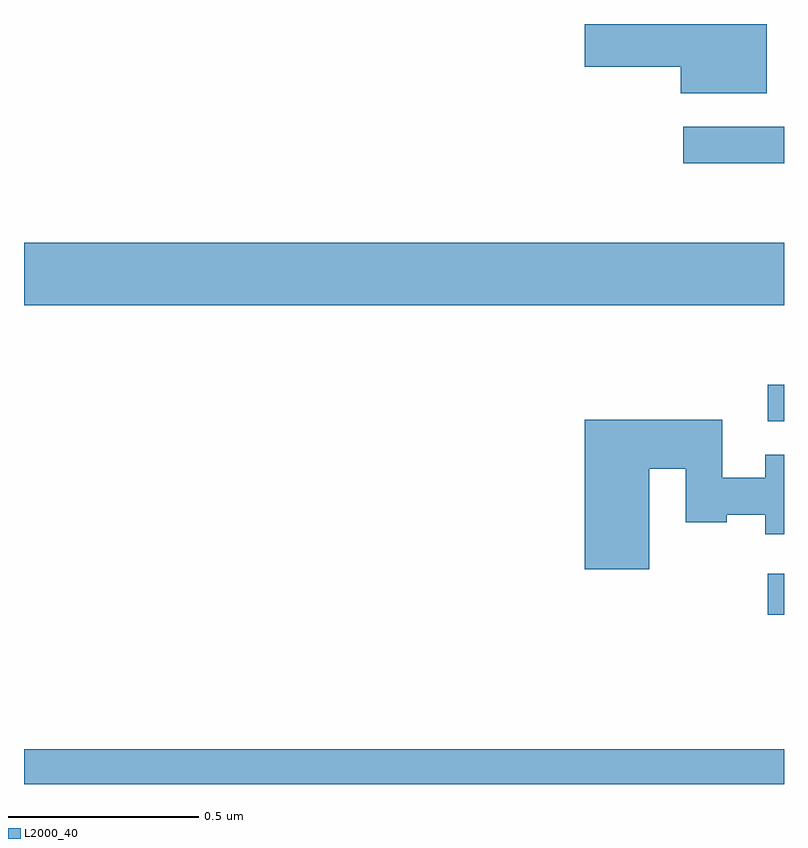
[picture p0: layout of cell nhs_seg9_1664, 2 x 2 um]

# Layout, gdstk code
import gdstk
lib = gdstk.Library(unit=1e-6, precision=1e-09)
def R(c, l, rs):  # rectangles x0, y0, x1, y1
    for r in rs: c.add(gdstk.rectangle(r[:2], r[2:], *l))
def P(c, l, *ps):  # polygons
    for p in ps: c.add(gdstk.Polygon(p, *l))
L2000_40 = (2000, 40)

nhs_seg9_1664 = lib.new_cell('nhs_seg9_1664')
R(nhs_seg9_1664, L2000_40, [(131,1188.5,133,1188.592), (132.957,1188.945,133,1189.053), (132.957,1189.455,133,1189.551), (131,1189.76,133,1189.924), (132.735,1190.133,133,1190.229)])
P(nhs_seg9_1664, L2000_40, [(132.955,1190.5),(132.476,1190.5),(132.476,1190.387),(132.728,1190.387),(132.728,1190.318),(132.955,1190.318)],
  [(132.646,1189.33),(132.741,1189.33),(132.741,1189.189),(132.849,1189.189),(132.849,1189.208),(132.95,1189.208),(132.95,1189.157),(133,1189.157),(133,1189.366),(132.95,1189.366),(132.95,1189.306),(132.837,1189.306),(132.837,1189.459),(132.476,1189.459),(132.476,1189.065),(132.646,1189.065)])

lib.write_gds('nhs_seg9_1664.gds')
